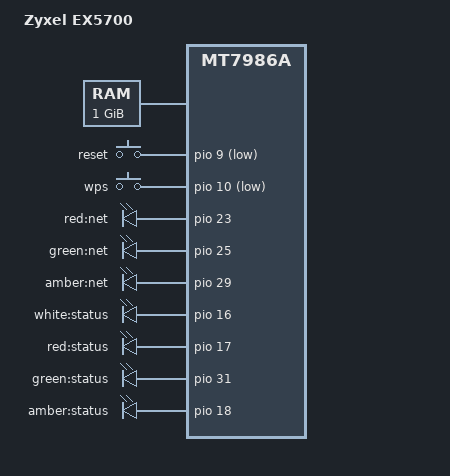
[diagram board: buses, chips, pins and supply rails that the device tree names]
/dts-v1/;
/include/ "mt7986a.dtsi"
/include/ "mt7986a-pinctrl.dtsi"
/include/ <dt-bindings/input/input.h>
/include/ <dt-bindings/gpio/gpio.h>
/include/ <dt-bindings/leds/common.h>

/ {
    model = "Zyxel EX5700";
    compatible = "zyxel,ex5700", "mediatek,mt7986a";

    chosen {
        bootargs = "console=ttyS0,115200n1 loglevel=8 earlycon=uart8250,mmio32,0x11002000";
    };

    aliases {
        led-boot = &led_status_green;
        led-failsafe = &led_status_green;
        led-running = &led_status_green;
        led-upgrade = &led_status_amber;
    };

    memory {
        reg = <0 0x40000000 0 0x40000000>;
    };

    gsw: gsw@0 {
        compatible = "mediatek,mt753x";
        mediatek,ethsys = <&ethsys>;
        #address-cells = <1>;
        #size-cells = <0>;
    };

    gpio-keys {
        compatible = "gpio-keys";
        poll-interval = <20>;

        reset-button {
            label = "reset";
            gpios = <&pio 9 GPIO_ACTIVE_LOW>;
            linux,code = <KEY_RESTART>;
        };

        wps-button {
            label = "wps";
            gpios = <&pio 10 GPIO_ACTIVE_LOW>;
            linux,code = <KEY_WPS_BUTTON>;
        };
    };

    leds {
        compatible = "gpio-leds";

        red1 {
            label = "red:net";
            gpios = <&pio 23 GPIO_ACTIVE_HIGH>;
        };

        green1 {
            label = "green:net";
            gpios = <&pio 25 GPIO_ACTIVE_HIGH>;
        };

        amber1 {
            label = "amber:net";
            gpios = <&pio 29 GPIO_ACTIVE_HIGH>;
        };

        white2 {
            label = "white:status";
            gpios = <&pio 16 GPIO_ACTIVE_HIGH>;
        };

        red2 {
            label = "red:status";
            gpios = <&pio 17 GPIO_ACTIVE_HIGH>;
        };

        led_status_green: green2 {
            label = "green:status";
            gpios = <&pio 31 GPIO_ACTIVE_HIGH>;
        };

        led_status_amber: amber2 {
            label = "amber:status";
            gpios = <&pio 18 GPIO_ACTIVE_HIGH>;
        };
    };

    nmbm_spim_nand {
        compatible = "generic,nmbm";
        #address-cells = <1>;
        #size-cells = <1>;

        lower-mtd-device = <&spi_nand>;
        forced-create;

        partitions {
            compatible = "fixed-partitions";
            #address-cells = <1>;
            #size-cells = <1>;

            partition@0 {
                label = "BL2";
                reg = <0x00 0x100000>;
            };

            partition@100000 {
                label = "u-boot-env";
                reg = <0x100000 0x80000>;
            };
        };
    };
};
